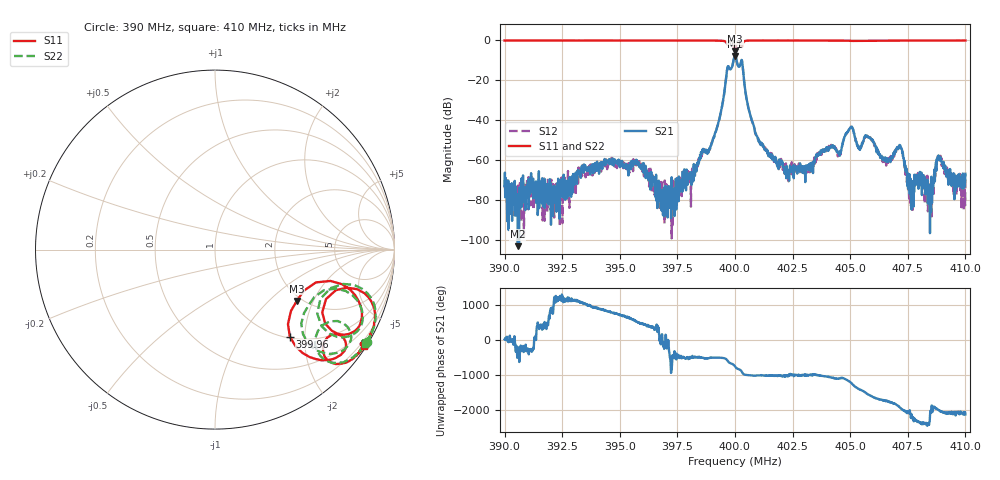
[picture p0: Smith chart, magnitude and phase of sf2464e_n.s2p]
!Agilent Technologies,E5071C,MY46104097,A.08.12
!Date: Wed Mar 07 15:40:14 2018
!Data & Calibration Information:
!Freq	S11:SOLT2(ON)	S21:SOLT2(ON)	S12:SOLT2(ON)	S22:SOLT2(ON)
# Hz S dB R 50
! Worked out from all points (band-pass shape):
!   1601 points, 390 MHz to 410 MHz, reference 50 ohm
!   highest |S21| = -7.82 dB at 400.01 MHz (marker M1); lowest = -103.3 dB at 390.57 MHz (marker M2)
!   |S21| within 3 dB of the highest: 399.9238 MHz to 400.0799 MHz (156.1 kHz wide, 0.039 % of centre); 400.2615 MHz to 400.3116 MHz (50.09 kHz wide, 0.0125 % of centre)
!   lowest |S11| = -5.4 dB at 400 MHz (marker M3), VSWR 3.33, Z = 94.1 - j75.6 ohm
!   |S11| at or under -10 dB: nowhere
!   |S22| runs from -4.3 to -0.1 dB; largest |S21 - S12| = 0.0022
!   S11 on the Smith chart (normalised r, x): 390 MHz: 0.07, -3.47; 399.96 MHz: 1.03, -1.69; 410 MHz: 0.06, -3.38
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3.9e8  -0.10 -32.2  -73.04 13.8  -74.27 -42.0  -0.08 -31.3
3.90575e8  -0.09 -32.2  -103.34 55.3  -72.97 -162.9  -0.09 -31.5
3.933375e8  -0.09 -32.6  -64.40 -24.8  -64.18 -10.0  -0.10 -31.9
3.95825e8  -0.11 -32.9  -62.42 141.9  -62.62 131.5  -0.11 -32.2
3.96675e8  -0.09 -33.4  -70.87 -33.3  -71.49 -91.4  -0.09 -32.5
3.973625e8  -0.09 -33.7  -82.93 -65.8  -71.48 -48.9  -0.10 -32.9
3.988875e8  -0.11 -35.4  -54.23 -160.2  -54.36 -157.8  -0.11 -34.8
3.999625e8  -3.88 -49.3  -8.65 -5.8  -8.66 -5.7  -3.35 -43.9
4e8  -5.39 -32.1  -7.98 -35.8  -8.02 -35.8  -4.34 -30.6
4.000125e8  -5.27 -24.9  -7.82 -45.4  -7.85 -45.4  -4.25 -25.7
4.003e8  -3.39 -24.0  -10.07 163.2  -10.09 163.3  -3.77 -25.0
4.011e8  -0.10 -29.9  -52.12 70.1  -51.24 70.6  -0.10 -29.0
4.0225e8  -0.11 -31.6  -64.50 48.6  -64.13 45.8  -0.09 -30.8
4.033375e8  -0.10 -32.3  -64.59 67.6  -61.48 82.1  -0.10 -31.4
4.05025e8  -0.26 -33.0  -43.60 -134.2  -43.53 -135.6  -0.26 -32.1
4.06675e8  -0.11 -32.3  -60.59 41.4  -60.88 45.0  -0.11 -31.4
4.07175e8  -0.14 -32.4  -52.86 -135.6  -53.80 -138.8  -0.13 -31.7
4.076375e8  -0.10 -32.5  -81.24 -65.7  -83.04 -86.4  -0.09 -31.7
4.079875e8  -0.10 -32.5  -67.52 169.6  -68.85 178.2  -0.10 -31.8
4.085e8  -0.10 -32.8  -84.00 80.7  -75.72 -140.1  -0.10 -31.9
4.088625e8  -0.12 -32.7  -58.80 149.4  -59.05 145.6  -0.11 -31.9
4.1e8  -0.09 -32.9  -67.00 37.0  -67.03 95.9  -0.09 -32.2
